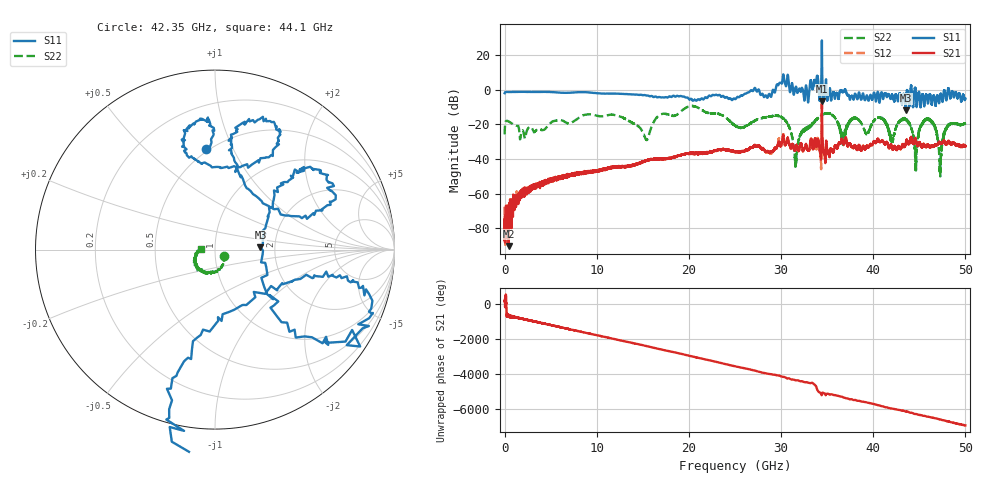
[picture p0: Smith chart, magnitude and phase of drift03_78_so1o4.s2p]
!Created with skrf (http://scikit-rf.org).
# Hz S RI R 50.0
!freq ReS11 ImS11 ReS21 ImS21 ReS12 ImS12 ReS22 ImS22
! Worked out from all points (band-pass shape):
!   10000 points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, 5.3 MHz to 50 GHz, reference 50 ohm
!   highest |S21| = -6.72 dB at 34.43 GHz (marker M1); lowest = -90.2 dB at 450.3 MHz (marker M2)
!   |S21| within 3 dB of the highest: 34.42734 GHz to 34.43513 GHz (7.794 MHz wide, 0.0226 % of centre)
!   lowest |S11| = -11.9 dB at 43.52 GHz (marker M3), VSWR 1.68, Z = 83.9 + j2.3 ohm
!   |S11| at or under -10 dB: 43.48447 GHz to 43.54318 GHz (58.71 MHz wide, 0.135 % of centre); 43.54685 GHz to 43.55187 GHz (5.02 MHz wide, 0.0115 % of centre); 44.32375 GHz to 44.32642 GHz (2.66 MHz wide, 0.006 % of centre) (the widest 3 of 5)
!   |S22| runs from -50.1 to -9.4 dB; largest |S21 - S12| = 0.14
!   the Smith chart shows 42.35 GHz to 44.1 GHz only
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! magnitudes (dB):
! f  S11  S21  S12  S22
! 5.3 MHz  -2.1  -74.7  -67.6  -25.9
! 450.3 MHz  -1.4  -90.2  -74.7  -18.4
! 2.19 GHz  -1.3  -58.7  -59.7  -28.0
! 8.34 GHz  -1.5  -48.9  -47.9  -15.3
! 15.4 GHz  -3.4  -41.0  -40.9  -29.0
! 16.67 GHz  -4.4  -40.1  -40.1  -15.3
! 20.46 GHz  -6.5  -36.9  -36.8  -9.5
! 25.01 GHz  -5.5  -35.9  -35.9  -20.7
! 29.93 GHz  4.0  -32.4  -31.8  -15.6
! 31.59 GHz  1.4  -33.9  -34.0  -43.3
! 33.34 GHz  2.7  -29.9  -30.7  -20.3
! 34.43 GHz  28.3  -6.7  -8.7  -14.5
! 36.71 GHz  -1.5  -30.2  -30.2  -27.8
! 37.95 GHz  -3.8  -32.7  -32.6  -16.4
! 41.67 GHz  -2.8  -33.2  -33.2  -23.0
! 43.52 GHz  -11.9  -31.5  -31.6  -17.4
! 44.61 GHz  -1.7  -29.2  -29.2  -45.7
! 45.27 GHz  -3.9  -32.9  -33.3  -19.8
! 46.25 GHz  -4.5  -32.8  -32.9  -17.9
! 47.29 GHz  -2.8  -30.9  -30.7  -45.7
! 48.15 GHz  0.5  -29.6  -29.7  -20.3
! 50 GHz  -5.3  -32.6  -32.5  -19.6
